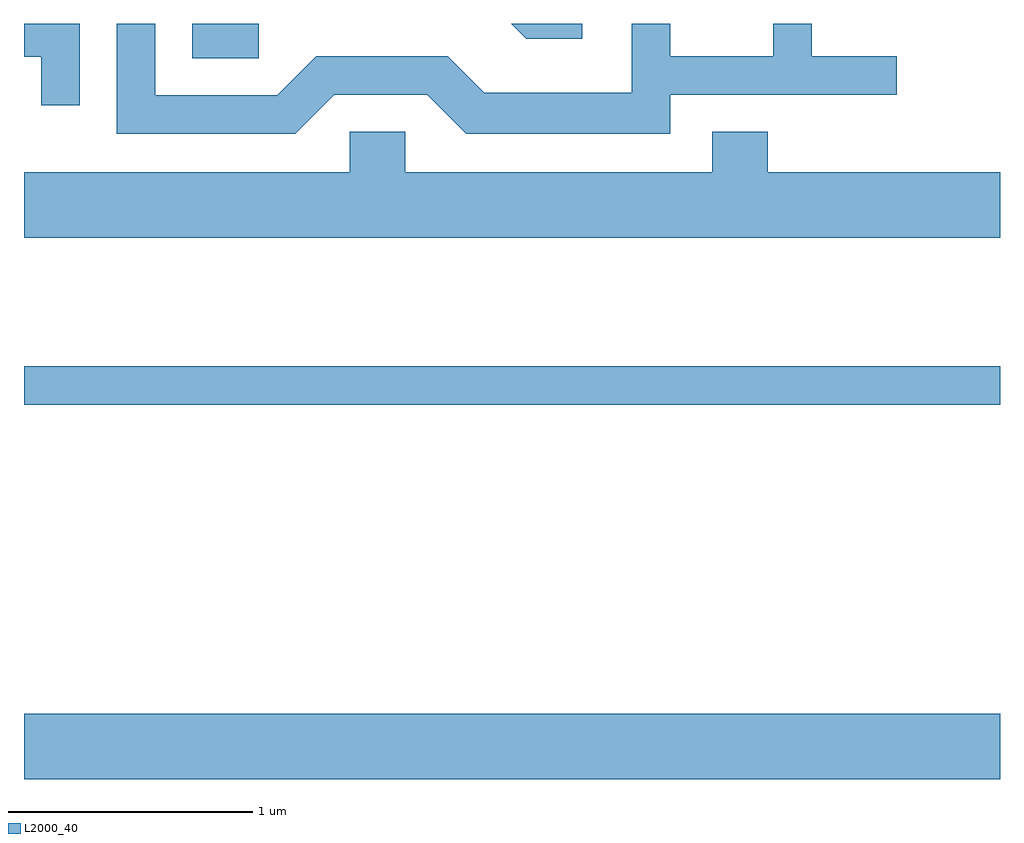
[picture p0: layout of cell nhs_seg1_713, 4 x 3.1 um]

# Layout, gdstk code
import gdstk
lib = gdstk.Library(unit=1e-6, precision=1e-09)
def R(c, l, rs):  # rectangles x0, y0, x1, y1
    for r in rs: c.add(gdstk.rectangle(r[:2], r[2:], *l))
def P(c, l, *ps):  # polygons
    for p in ps: c.add(gdstk.Polygon(p, *l))
L2000_40 = (2000, 40)

nhs_seg1_713 = lib.new_cell('nhs_seg1_713')
R(nhs_seg1_713, L2000_40, [(205.611,970.616,209.611,970.884), (205.611,972.151,209.611,972.309), (206.301,973.571,206.573,973.712)])
P(nhs_seg1_713, L2000_40, [(206.882,973.421),(207.264,973.421),(207.424,973.261),(208.259,973.261),(208.259,973.421),(209.188,973.421),(209.188,973.579),(208.839,973.579),(208.839,973.712),(208.681,973.712),(208.681,973.579),(208.259,973.579),(208.259,973.712),(208.101,973.712),(208.101,973.429),(207.497,973.429),(207.347,973.579),(206.809,973.579),(206.649,973.419),(206.149,973.419),(206.149,973.712),(205.991,973.712),(205.991,973.261),(206.722,973.261)],
  [(207.898,973.712),(207.608,973.712),(207.669,973.651),(207.898,973.651)],
  [(205.839,973.712),(205.611,973.712),(205.611,973.576),(205.681,973.576),(205.681,973.378),(205.839,973.378)],
  [(209.611,973.104),(208.659,973.104),(208.659,973.269),(208.431,973.269),(208.431,973.104),(207.174,973.104),(207.174,973.269),(206.946,973.269),(206.946,973.104),(205.611,973.104),(205.611,972.836),(209.611,972.836)])

lib.write_gds('nhs_seg1_713.gds')
